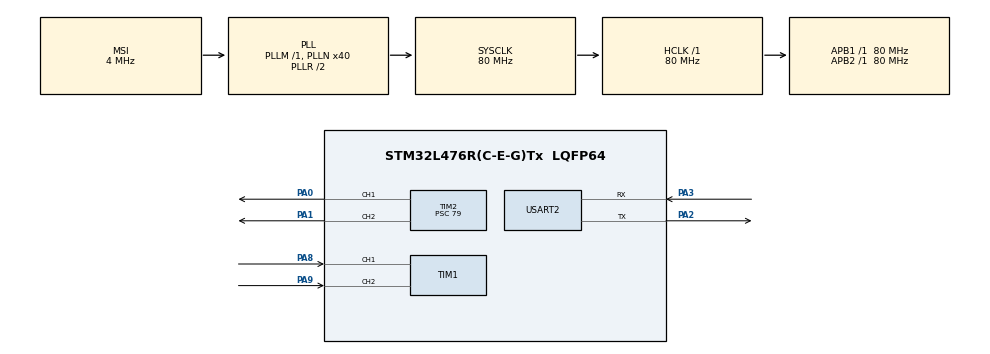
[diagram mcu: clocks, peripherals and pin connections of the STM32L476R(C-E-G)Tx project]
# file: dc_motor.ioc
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Mcu.Family=STM32L4
Mcu.Name=STM32L476R(C-E-G)Tx
Mcu.Package=LQFP64
NVIC.PriorityGroup=NVIC_PRIORITYGROUP_4
PA0.Signal=S_TIM2_CH1
PA1.Signal=S_TIM2_CH2
PA13\ (JTMS-SWDIO).Mode=Serial_Wire
PA13\ (JTMS-SWDIO).Signal=SYS_JTMS-SWDIO
PA14\ (JTCK-SWCLK).Mode=Serial_Wire
PA14\ (JTCK-SWCLK).Signal=SYS_JTCK-SWCLK
PA2.Mode=Asynchronous
PA2.Signal=USART2_TX
PA3.Mode=Asynchronous
PA3.Signal=USART2_RX
PA8.Signal=S_TIM1_CH1
PA9.Signal=S_TIM1_CH2
ProjectManager.HeapSize=0x200
ProjectManager.StackSize=0x400
ProjectManager.TargetToolchain=STM32CubeIDE
RCC.AHBFreq_Value=80000000
RCC.APB1Freq_Value=80000000
RCC.APB1TimFreq_Value=80000000
RCC.APB2Freq_Value=80000000
RCC.APB2TimFreq_Value=80000000
RCC.CortexFreq_Value=80000000
RCC.HCLKFreq_Value=80000000
RCC.HSE_VALUE=8000000
RCC.HSI_VALUE=16000000
RCC.LSE_VALUE=32768
RCC.MSI_VALUE=4000000
RCC.PLLN=40
RCC.SYSCLKFreq_VALUE=80000000
RCC.SYSCLKSource=RCC_SYSCLKSOURCE_PLLCLK
RCC.VCOOutputFreq_Value=160000000
SH.S_TIM1_CH1.0=TIM1_CH1,Encoder_Interface
SH.S_TIM1_CH2.0=TIM1_CH2,Encoder_Interface
SH.S_TIM2_CH1.0=TIM2_CH1,PWM Generation1 CH1
SH.S_TIM2_CH2.0=TIM2_CH2,PWM Generation2 CH2
TIM2.Channel-PWM\ Generation1\ CH1=TIM_CHANNEL_1
TIM2.Channel-PWM\ Generation2\ CH2=TIM_CHANNEL_2
TIM2.Period=999
TIM2.Prescaler=79
USART2.OverrunDisableParam=ADVFEATURE_OVERRUN_DISABLE
USART2.VirtualMode-Asynchronous=VM_ASYNC
VP_TIM2_VS_ClockSourceINT.Mode=Internal
board=custom

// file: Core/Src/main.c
/* USER CODE BEGIN Header */
/**
  ******************************************************************************
  * @file           : main.c
  * @brief          : Main program body
  ******************************************************************************
  * @attention
  *
  * Copyright (c) 2026 STMicroelectronics.
  * All rights reserved.
  *
  * This software is licensed under terms that can be found in the LICENSE file
  * in the root directory of this software component.
  * If no LICENSE file comes with this software, it is provided AS-IS.
  *
  ******************************************************************************
  */
/* USER CODE END Header */
#include "main.h"
#include "tim.h"
#include "usart.h"
#include "gpio.h"

/* USER CODE BEGIN Includes */
#include "dc_motor.h"
#include "stdio.h"
/* USER CODE END Includes */

/* USER CODE BEGIN PV */
motor_t motor1 = {
  .pwm_tim = &htim2,
  .pwm_channel_A = TIM_CHANNEL_1,
  .pwm_channel_B = TIM_CHANNEL_2,
  .encoder_tim = &htim1,
  .encoder_curr_count = 0,
  .encoder_prev_count = 0,
  .encoder_resolution = 700,
  .measured_rpm = 0,
  .max_rpm = 251.0f,
  .regulator_Kp = 0.2f,
  .regulator_Ki = 0,
  .integral = 0
};

uint32_t Ts_ms = 10;
uint32_t curr_time = 0;
uint32_t prev_time = 0;
uint32_t cnt = 0;
/* USER CODE END PV */

void SystemClock_Config(void);

/* USER CODE BEGIN 0 */
void test1(void){
  motor_measure_rpm(&motor1, (float)Ts_ms / 1000);
  if(cnt > 200){
    printf("rpm = %f\n", motor1.measured_rpm);
    cnt = 0;
  }
  cnt++;
}
/* USER CODE END 0 */

int main(void)
{

  /* MCU Configuration--------------------------------------------------------*/

  /* Reset of all peripherals, Initializes the Flash interface and the Systick. */
  HAL_Init();

  /* Configure the system clock */
  SystemClock_Config();

  /* Initialize all configured peripherals */
  MX_GPIO_Init();
  MX_TIM1_Init();
  MX_USART2_UART_Init();
  MX_TIM2_Init();
  /* USER CODE BEGIN 2 */
  motor_init(&motor1);
  /* USER CODE END 2 */

  /* Infinite loop */
  while (1)
  {
    curr_time = HAL_GetTick();
    if(curr_time - prev_time >= Ts_ms){
      test1();
    }
  }
}

void SystemClock_Config(void)
{
  RCC_OscInitTypeDef RCC_OscInitStruct = {0};
  RCC_ClkInitTypeDef RCC_ClkInitStruct = {0};

  /** Configure the main internal regulator output voltage
  */
  if (HAL_PWREx_ControlVoltageScaling(PWR_REGULATOR_VOLTAGE_SCALE1) != HAL_OK)
  {
    Error_Handler();
  }

  /** Initializes the RCC Oscillators according to the specified parameters
  * in the RCC_OscInitTypeDef structure.
  */
  RCC_OscInitStruct.OscillatorType = RCC_OSCILLATORTYPE_MSI;
  RCC_OscInitStruct.MSIState = RCC_MSI_ON;
  RCC_OscInitStruct.MSICalibrationValue = 0;
  RCC_OscInitStruct.MSIClockRange = RCC_MSIRANGE_6;
  RCC_OscInitStruct.PLL.PLLState = RCC_PLL_ON;
  RCC_OscInitStruct.PLL.PLLSource = RCC_PLLSOURCE_MSI;
  RCC_OscInitStruct.PLL.PLLM = 1;
  RCC_OscInitStruct.PLL.PLLN = 40;
  RCC_OscInitStruct.PLL.PLLP = RCC_PLLP_DIV7;
  RCC_OscInitStruct.PLL.PLLQ = RCC_PLLQ_DIV2;
  RCC_OscInitStruct.PLL.PLLR = RCC_PLLR_DIV2;
  if (HAL_RCC_OscConfig(&RCC_OscInitStruct) != HAL_OK)
  {
    Error_Handler();
  }

  /** Initializes the CPU, AHB and APB buses clocks
  */
  RCC_ClkInitStruct.ClockType = RCC_CLOCKTYPE_HCLK|RCC_CLOCKTYPE_SYSCLK
                              |RCC_CLOCKTYPE_PCLK1|RCC_CLOCKTYPE_PCLK2;
  RCC_ClkInitStruct.SYSCLKSource = RCC_SYSCLKSOURCE_PLLCLK;
  RCC_ClkInitStruct.AHBCLKDivider = RCC_SYSCLK_DIV1;
  RCC_ClkInitStruct.APB1CLKDivider = RCC_HCLK_DIV1;
  RCC_ClkInitStruct.APB2CLKDivider = RCC_HCLK_DIV1;

  if (HAL_RCC_ClockConfig(&RCC_ClkInitStruct, FLASH_LATENCY_4) != HAL_OK)
  {
    Error_Handler();
  }
}

void Error_Handler(void)
{
  __disable_irq();
  while (1)
  {
  }
}
